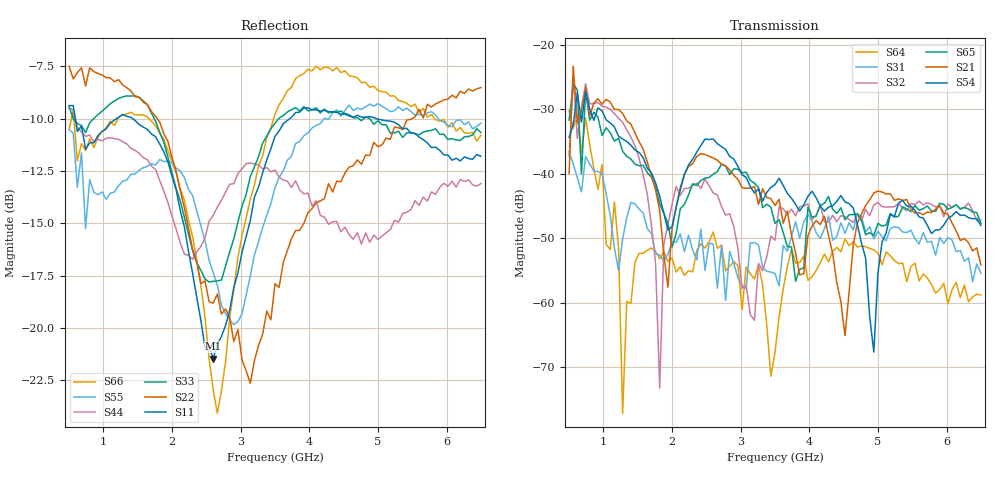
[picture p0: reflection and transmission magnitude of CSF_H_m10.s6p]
!Keysight Technologies,M9804A,MY58100912,A.14.10.03
!Date: Thursday, April 27, 2023 10:28:33
!Correction: S11(C  6-Port  )
!S12(C  6-Port  )
!S13(C  6-Port  )
!S14(C  6-Port  )
!S15(C  6-Port  )
!S16(C  6-Port  )
!S21(C  6-Port  )
!S22(C  6-Port  )
!S23(C  6-Port  )
!S24(C  6-Port  )
!S25(C  6-Port  )
!S26(C  6-Port  )
!S31(C  6-Port  )
!S32(C  6-Port  )
!S33(C  6-Port  )
!S34(C  6-Port  )
!S35(C  6-Port  )
!S36(C  6-Port  )
!S41(C  6-Port  )
!S42(C  6-Port  )
!S43(C  6-Port  )
!S44(C  6-Port  )
!S45(C  6-Port  )
!S46(C  6-Port  )
!S51(C  6-Port  )
!S52(C  6-Port  )
!S53(C  6-Port  )
!S54(C  6-Port  )
!S55(C  6-Port  )
!S56(C  6-Port  )
!S61(C  6-Port  )
!S62(C  6-Port  )
!S63(C  6-Port  )
!S64(C  6-Port  )
!S65(C  6-Port  )
!S66(C  6-Port  )
!S6P File: Measurement: :
# Hz S  RI  R 50
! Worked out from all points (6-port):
!   101 points, 500 MHz to 6.5 GHz, reference 50 ohm
!   strongest paths, dB at 500 MHz, 2 GHz, 3.5 GHz, 5 GHz, 6.5 GHz:
!     S54: -34.4, -48.2, -41.7, -55.4, -48.0
!     S21: -40.0, -48.5, -44.9, -42.7, -54.1
!     S65: -31.7, -51.4, -47.7, -47.7, -47.7
!     S32: -37.3, -44.7, -50.3, -44.5, -47.2
!     S31: -36.6, -50.5, -55.5, -48.9, -55.4
!     S64: -30.3, -53.0, -67.7, -52.3, -58.8
!   lowest |S11| = -21.5 dB at 2.6 GHz (marker M1), VSWR 1.18, Z = 42.5 + j2.18 ohm
!   |S11| at or under -10 dB: 590.2 MHz to 1.19 GHz (600.3 MHz wide, 67.4 % of centre); 1.425 GHz to 3.715 GHz (2.289 GHz wide, 89.1 % of centre); 4.978 GHz to end of sweep
